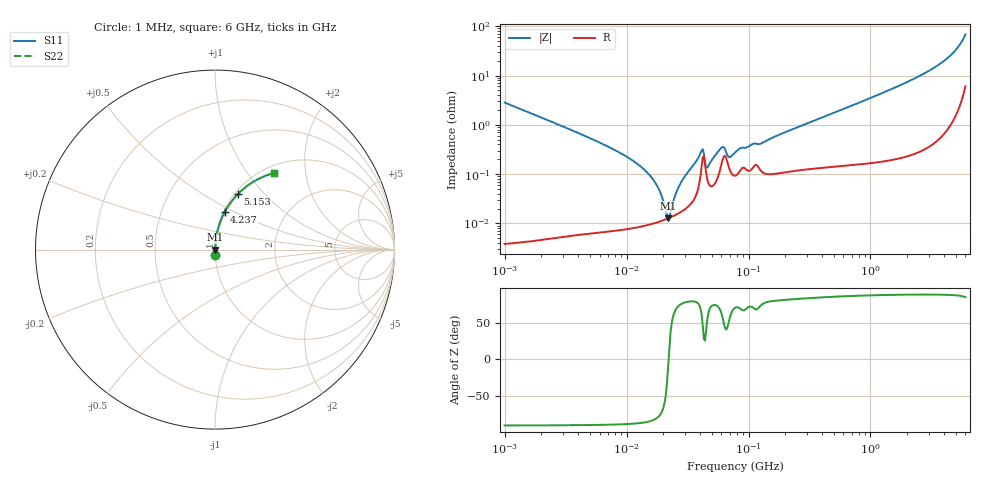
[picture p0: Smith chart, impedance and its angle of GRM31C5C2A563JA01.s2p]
!Murata Part Number: GRM31C5C2A563JA01
!These Parameters are Measured in Series Mode Connection
!Data Generated on Mar 30, 2021
!  o--ll--o
!Port1  Port2
!  o------o
!Operation Temp=25[degC], DC Bias Voltage=0[V]
!Freq. Start=1000[kHz] Stop=6[GHz] 401[Steps]
# Hz S RI R 50
!Freq.(Hz) S11(Real) S11(Imag) S21(Real) S21(Imag) S12(Real) S12(Imag) S22(Real) S22(Imag)
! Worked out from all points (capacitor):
!   401 points, 1 MHz to 6 GHz, reference 50 ohm
!   read as one part in series: C = 56.2 nF near 1.044 MHz
!   lowest |Z| = 12.8 mohm at 21.94 MHz (marker M1)
!   series resonance near 22.09 MHz, so ESL is about 920 pH
!   S11 on the Smith chart (normalised r, x): 1 MHz: 1.00, -0.06; 4.237 GHz: 1.02, +0.44; 5.153 GHz: 1.04, +0.72; 6 GHz: 1.12, +1.36
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1000000  0.000838 -0.0283  0.9992 0.0283  0.9992 0.0283  0.000838 -0.0283
4293785  9.96e-05 -0.00635  0.9999 0.00635  0.9999 0.00635  9.96e-05 -0.00635
1.16769e7  8.42e-05 -0.00176  0.9999 0.00176  0.9999 0.00176  8.42e-05 -0.00176
1.549236e7  9.56e-05 -0.000942  0.9999 0.000942  0.9999 0.000942  9.56e-05 -0.000942
1.843659e7  0.000108 -0.000476  0.9999 0.000476  0.9999 0.000476  0.000108 -0.000476
2.194036e7  0.000127 -1.83e-05  0.9999 1.83e-05  0.9999 1.83e-05  0.000127 -1.83e-05
2.291577e7  0.000133 9.76e-05  0.9999 -9.76e-05  0.9999 -9.76e-05  0.000133 9.76e-05
2.499862e7  0.000147 0.000334  0.9999 -0.000334  0.9999 -0.000334  0.000147 0.000334
2.727078e7  0.000166 0.000581  0.9998 -0.000581  0.9998 -0.000581  0.000166 0.000581
4.033799e7  0.000914 0.00247  0.9991 -0.00247  0.9991 -0.00247  0.000914 0.00247
4.213132e7  0.00218 0.00229  0.9978 -0.00229  0.9978 -0.00229  0.00218 0.00229
4.596069e7  0.000779 0.00111  0.9992 -0.00111  0.9992 -0.00111  0.000779 0.00111
5.966657e7  0.0015 0.00305  0.9985 -0.00305  0.9985 -0.00305  0.0015 0.00305
6.23192e7  0.00221 0.00277  0.9978 -0.00277  0.9978 -0.00277  0.00221 0.00277
6.947823e7  0.00131 0.00177  0.9987 -0.00177  0.9987 -0.00177  0.00131 0.00177
7.745967e7  0.000931 0.00258  0.9991 -0.00258  0.9991 -0.00258  0.000931 0.00258
3.325952e8  0.00141 0.0116  0.9986 -0.0116  0.9986 -0.0116  0.00141 0.0116
1.428092e9  0.00445 0.0505  0.9955 -0.0505  0.9955 -0.0505  0.00445 0.0505
2.802612e9  0.0156 0.1105  0.9844 -0.1105  0.9844 -0.1105  0.0156 0.1105
4.236675e9  0.0531 0.2074  0.9469 -0.2074  0.9469 -0.2074  0.0531 0.2074
5.152685e9  0.1274 0.3093  0.8726 -0.3093  0.8726 -0.3093  0.1274 0.3093
6e9  0.3304 0.4279  0.6696 -0.4279  0.6696 -0.4279  0.3304 0.4279
